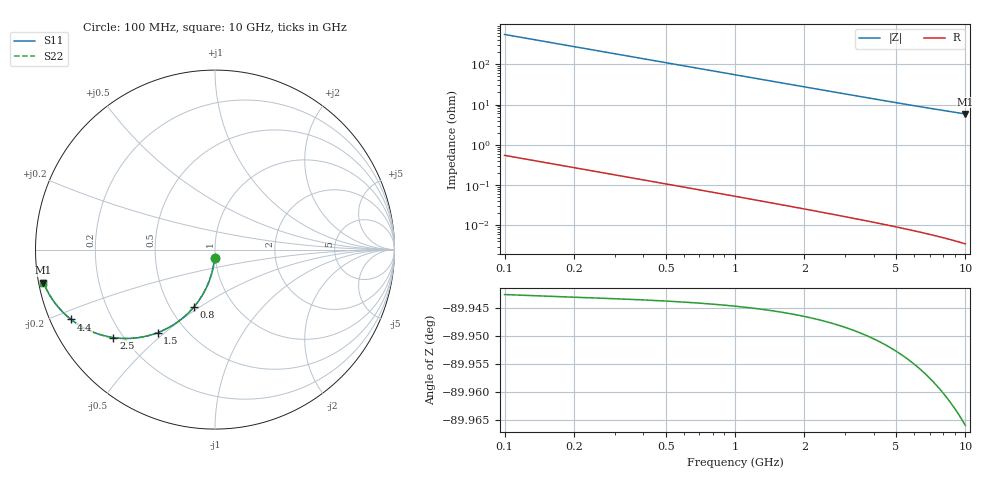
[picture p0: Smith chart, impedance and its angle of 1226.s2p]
# Hz S RI R 50.00
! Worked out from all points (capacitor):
!   100 points, 100 MHz to 10 GHz, reference 50 ohm
!   read as one part in shunt: C = 2.91 pF near 100 MHz
!   lowest |Z| = 5.85 ohm at 10 GHz (marker M1)
!   S11 on the Smith chart (normalised r, x): 100 MHz: 0.99, -0.09; 800 MHz: 0.65, -0.47; 1.5 GHz: 0.35, -0.47; 2.5 GHz: 0.16, -0.36; 4.4 GHz: 0.06, -0.23; 10 GHz: 0.01, -0.10
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1e8  -0.00203 -0.0453  0.9978 -0.0457  0.9978 -0.0457  -0.00203 -0.0453
2e8  -0.00826 -0.0901  0.9916 -0.0909  0.9916 -0.0909  -0.00826 -0.0901
3e8  -0.0184 -0.1338  0.9814 -0.135  0.9814 -0.135  -0.0184 -0.1338
4e8  -0.0323 -0.1758  0.9675 -0.1774  0.9675 -0.1774  -0.0323 -0.1758
5e8  -0.0496 -0.2158  0.9502 -0.2178  0.9502 -0.2178  -0.0496 -0.2158
6e8  -0.0699 -0.2534  0.9299 -0.2558  0.9299 -0.2558  -0.0699 -0.2534
8e8  -0.1178 -0.3204  0.882 -0.3235  0.882 -0.3235  -0.1178 -0.3204
9e8  -0.1445 -0.3495  0.8553 -0.353  0.8553 -0.353  -0.1445 -0.3495
1.1e9  -0.2015 -0.3985  0.7983 -0.4028  0.7983 -0.4028  -0.2015 -0.3985
1.3e9  -0.2606 -0.436  0.7392 -0.441  0.7392 -0.441  -0.2606 -0.436
1.5e9  -0.3193 -0.4628  0.6805 -0.4687  0.6805 -0.4687  -0.3193 -0.4628
1.8e9  -0.4032 -0.4865  0.5966 -0.4936  0.5966 -0.4936  -0.4032 -0.4865
2.1e9  -0.4791 -0.495  0.5207 -0.5032  0.5207 -0.5032  -0.4791 -0.495
2.5e9  -0.5659 -0.4902  0.4338 -0.5  0.4338 -0.5  -0.5659 -0.4902
2.9e9  -0.6371 -0.4746  0.3627 -0.486  0.3627 -0.486  -0.6371 -0.4746
3.4e9  -0.7072 -0.4478  0.2926 -0.4611  0.2926 -0.4611  -0.7072 -0.4478
3.9e9  -0.7608 -0.4183  0.2389 -0.4336  0.2389 -0.4336  -0.7608 -0.4183
4.4e9  -0.8021 -0.389  0.1975 -0.4064  0.1975 -0.4064  -0.8021 -0.389
5.1e9  -0.8452 -0.3509  0.1544 -0.3711  0.1544 -0.3711  -0.8452 -0.3509
6.7e9  -0.9046 -0.2794  0.0948 -0.3061  0.0948 -0.3061  -0.9046 -0.2794
8.4e9  -0.9377 -0.2235  0.0615 -0.2574  0.0615 -0.2574  -0.9377 -0.2235
1e10  -0.9556 -0.1837  0.0433 -0.2247  0.0433 -0.2247  -0.9556 -0.1837
